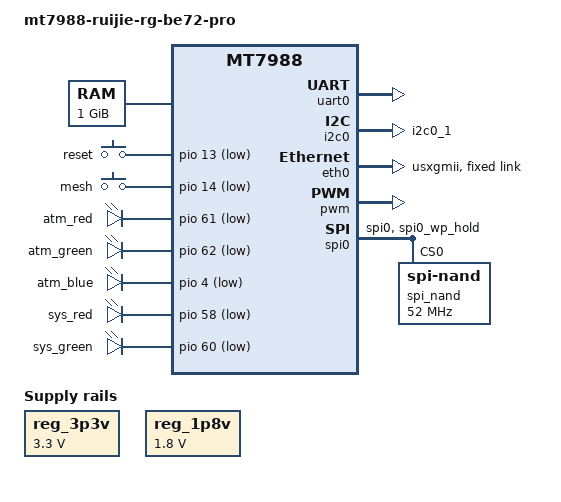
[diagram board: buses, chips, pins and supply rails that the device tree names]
// SPDX-License-Identifier: GPL-2.0
/*
 * Ruijie RG-BE72 Pro (MT7988D)
 * Ported from airjinkela/bl-798x-e, adapted for U-Boot 2025
 */

/dts-v1/;
#include "mt7988.dtsi"
#include <dt-bindings/input/linux-event-codes.h>
#include <dt-bindings/gpio/gpio.h>

/ {
	model = "mt7988-ruijie-rg-be72-pro";
	compatible = "mediatek,mt7988", "mediatek,mt7988-rfb";

	chosen {
		stdout-path = &uart0;
	};

	config {
		bootcmd = "mtkboardboot";
		blink_led = "sys_green";
		system_led = "sys_red";
	};

	memory@40000000 {
		device_type = "memory";
		reg = <0 0x40000000 0 0x40000000>;
	};

	gpio-keys {
		compatible = "gpio-keys";

		reset-button {
			label = "reset";
			linux,code = <KEY_RESTART>;
			gpios = <&pio 13 GPIO_ACTIVE_LOW>;
		};

		mesh-button {
			label = "mesh";
			linux,code = <BTN_8>;
			gpios = <&pio 14 GPIO_ACTIVE_LOW>;
		};
	};

	gpio-leds {
		compatible = "gpio-leds";

		led-0 {
			label = "atm_red";
			gpios = <&pio 61 GPIO_ACTIVE_LOW>;
		};

		led-1 {
			label = "atm_green";
			gpios = <&pio 62 GPIO_ACTIVE_LOW>;
		};

		led-2 {
			label = "atm_blue";
			gpios = <&pio 4 GPIO_ACTIVE_LOW>;
		};

		led-3 {
			label = "sys_red";
			gpios = <&pio 58 GPIO_ACTIVE_LOW>;
		};

		led-4 {
			label = "sys_green";
			gpios = <&pio 60 GPIO_ACTIVE_LOW>;
		};
	};

	cpus {
		/delete-node/ cpu@3;
	};

	reg_3p3v: regulator-3p3v {
		compatible = "regulator-fixed";
		regulator-name = "fixed-3.3V";
		regulator-min-microvolt = <3300000>;
		regulator-max-microvolt = <3300000>;
		regulator-boot-on;
		regulator-always-on;
	};

	reg_1p8v: regulator-1p8v {
		compatible = "regulator-fixed";
		regulator-name = "fixed-1.8V";
		regulator-min-microvolt = <1800000>;
		regulator-max-microvolt = <1800000>;
		regulator-boot-on;
		regulator-always-on;
	};

	bl2_verify {
		bl2_compatible = "spim-nand";
	};
};

&uart0 {
	status = "okay";
};

&i2c0 {
	pinctrl-names = "default";
	pinctrl-0 = <&i2c0_pins>;
	status = "okay";
};

&eth0 {
	status = "okay";
	mediatek,gmac-id = <0>;
	phy-mode = "usxgmii";
	mediatek,switch = "mt7988";

	fixed-link {
		speed = <1000>;
		full-duplex;
		pause;
	};
};

&pio {
	spi0_pins: spi0-pins {
		mux {
			function = "spi";
			groups = "spi0", "spi0_wp_hold";
		};
	};

	i2c0_pins: i2c0-pins-g0 {
		mux {
			function = "i2c";
			groups = "i2c0_1";
		};
	};
};

&pwm {
	status = "okay";
};

&spi0 {
	pinctrl-names = "default";
	pinctrl-0 = <&spi0_pins>;
	#address-cells = <1>;
	#size-cells = <0>;
	status = "okay";
	must_tx;
	enhance_timing;
	dma_ext;
	ipm_design;
	support_quad;
	tick_dly = <2>;
	sample_sel = <0>;

	spi_nand@0 {
		compatible = "spi-nand";
		reg = <0>;
		spi-max-frequency = <52000000>;
	};
};

&watchdog {
	status = "disabled";
};
